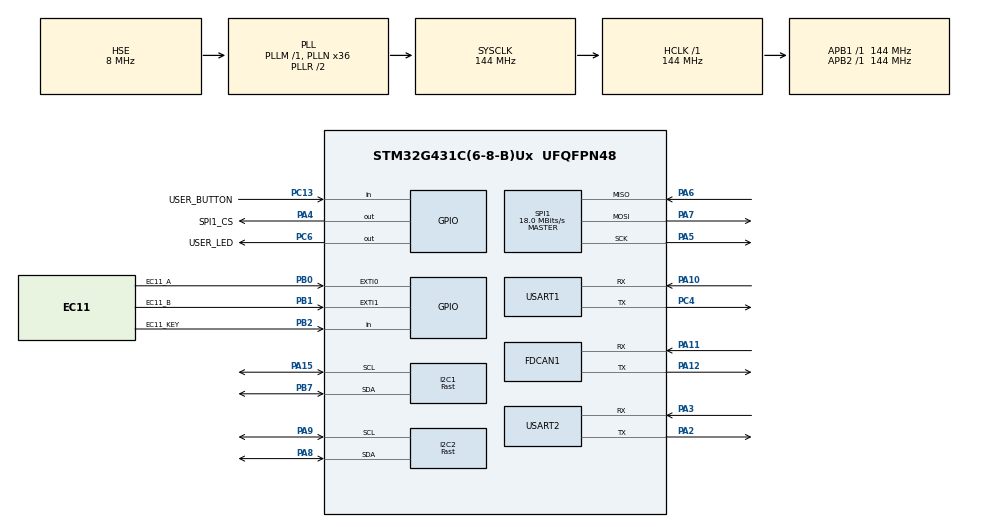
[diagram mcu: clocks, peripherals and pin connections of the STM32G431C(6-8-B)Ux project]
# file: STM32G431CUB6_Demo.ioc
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Dma.Request0=USART1_RX
Dma.USART1_RX.0.Direction=DMA_PERIPH_TO_MEMORY
Dma.USART1_RX.0.EventEnable=DISABLE
Dma.USART1_RX.0.Instance=DMA1_Channel1
Dma.USART1_RX.0.MemDataAlignment=DMA_MDATAALIGN_BYTE
Dma.USART1_RX.0.MemInc=DMA_MINC_ENABLE
Dma.USART1_RX.0.Mode=DMA_CIRCULAR
Dma.USART1_RX.0.PeriphDataAlignment=DMA_PDATAALIGN_BYTE
Dma.USART1_RX.0.PeriphInc=DMA_PINC_DISABLE
Dma.USART1_RX.0.Polarity=HAL_DMAMUX_REQ_GEN_RISING
Dma.USART1_RX.0.Priority=DMA_PRIORITY_LOW
Dma.USART1_RX.0.RequestNumber=1
Dma.USART1_RX.0.SignalID=NONE
Dma.USART1_RX.0.SyncEnable=DISABLE
Dma.USART1_RX.0.SyncPolarity=HAL_DMAMUX_SYNC_NO_EVENT
Dma.USART1_RX.0.SyncRequestNumber=1
Dma.USART1_RX.0.SyncSignalID=NONE
FDCAN1.CalculateBaudRateNominal=500000
FDCAN1.CalculateTimeBitNominal=2000
FDCAN1.CalculateTimeQuantumNominal=125.0
FDCAN1.NominalPrescaler=18
FDCAN1.NominalTimeSeg1=11
FDCAN1.NominalTimeSeg2=4
I2C1.I2C_Speed_Mode=I2C_Fast
I2C1.Timing=0x10E32674
I2C2.I2C_Speed_Mode=I2C_Fast
I2C2.Speed=400
I2C2.Timing=0x10E32674
Mcu.Family=STM32G4
Mcu.Name=STM32G431C(6-8-B)Ux
Mcu.Package=UFQFPN48
NVIC.DMA1_Channel1_IRQn=true\:8\:0\:true\:false\:true\:false\:true\:true
NVIC.EXTI0_IRQn=true\:12\:0\:true\:false\:true\:true\:true\:true
NVIC.EXTI1_IRQn=true\:12\:0\:true\:false\:true\:true\:true\:true
NVIC.FDCAN1_IT0_IRQn=true\:6\:0\:true\:false\:true\:true\:true\:true
NVIC.PriorityGroup=NVIC_PRIORITYGROUP_4
NVIC.RNG_IRQn=true\:14\:0\:true\:false\:true\:true\:true\:true
NVIC.TIM1_TRG_COM_TIM17_IRQn=true\:10\:0\:true\:false\:true\:true\:true\:true
NVIC.TIM7_IRQn=true\:12\:0\:true\:false\:true\:true\:true\:true
NVIC.TimeBase=TIM1_TRG_COM_TIM17_IRQn
NVIC.TimeBaseIP=TIM17
NVIC.USART1_IRQn=true\:8\:0\:true\:false\:true\:true\:true\:true
NVIC.USART2_IRQn=true\:10\:0\:true\:false\:true\:true\:true\:true
PA10.Mode=Asynchronous
PA10.Signal=USART1_RX
PA11.Mode=FDCAN_Activate
PA11.Signal=FDCAN1_RX
PA12.Mode=FDCAN_Activate
PA12.Signal=FDCAN1_TX
PA13.Mode=Serial_Wire
PA13.Signal=SYS_JTMS-SWDIO
PA14.Mode=Serial_Wire
PA14.Signal=SYS_JTCK-SWCLK
PA15.Mode=I2C
PA15.Signal=I2C1_SCL
PA2.Mode=Asynchronous
PA2.Signal=USART2_TX
PA3.Mode=Asynchronous
PA3.Signal=USART2_RX
PA4.GPIO_Label=SPI1_CS
PA4.PinState=GPIO_PIN_SET
PA4.Signal=GPIO_Output
PA5.Mode=Full_Duplex_Master
PA5.Signal=SPI1_SCK
PA6.Mode=Full_Duplex_Master
PA6.Signal=SPI1_MISO
PA7.Mode=Full_Duplex_Master
PA7.Signal=SPI1_MOSI
PA8.Mode=I2C
PA8.Signal=I2C2_SDA
PA9.Mode=I2C
PA9.Signal=I2C2_SCL
PB0.GPIO_Label=EC11_A
PB0.GPIO_ModeDefaultEXTI=GPIO_MODE_IT_RISING_FALLING
PB0.GPIO_PuPd=GPIO_PULLUP
PB0.Signal=GPXTI0
PB1.GPIO_Label=EC11_B
PB1.GPIO_ModeDefaultEXTI=GPIO_MODE_IT_RISING_FALLING
PB1.GPIO_PuPd=GPIO_PULLUP
PB1.Signal=GPXTI1
PB2.GPIO_Label=EC11_KEY
PB2.GPIO_PuPd=GPIO_PULLUP
PB2.Signal=GPIO_Input
PB7.Mode=I2C
PB7.Signal=I2C1_SDA
PC13.GPIO_Label=USER_BUTTON
PC13.GPIO_PuPd=GPIO_PULLDOWN
PC13.Signal=GPIO_Input
PC14-OSC32_IN.Mode=LSE-External-Oscillator
PC14-OSC32_IN.Signal=RCC_OSC32_IN
PC15-OSC32_OUT.Mode=LSE-External-Oscillator
PC15-OSC32_OUT.Signal=RCC_OSC32_OUT
PC4.Mode=Asynchronous
PC4.Signal=USART1_TX
PC6.GPIO_Label=USER_LED
PC6.GPIO_PuPd=GPIO_NOPULL
PC6.Signal=GPIO_Output
PF0-OSC_IN.Mode=HSE-External-Oscillator
PF0-OSC_IN.Signal=RCC_OSC_IN
PF1-OSC_OUT.Mode=HSE-External-Oscillator
PF1-OSC_OUT.Signal=RCC_OSC_OUT
ProjectManager.HeapSize=0x200
ProjectManager.StackSize=0x800
ProjectManager.TargetToolchain=STM32CubeIDE
RCC.ADC12Freq_Value=144000000
RCC.AHBFreq_Value=144000000
RCC.APB1Freq_Value=144000000
RCC.APB1TimFreq_Value=144000000
RCC.APB2Freq_Value=144000000
RCC.APB2TimFreq_Value=144000000
RCC.CortexFreq_Value=144000000
RCC.EXTERNAL_CLOCK_VALUE=12288000
RCC.HCLKFreq_Value=144000000
RCC.HSE_VALUE=8000000
RCC.HSI48_VALUE=48000000
RCC.HSI_VALUE=16000000
RCC.PLLN=36
RCC.PLLQ=RCC_PLLQ_DIV6
RCC.PLLSourceVirtual=RCC_PLLSOURCE_HSE
RCC.RTCClockSelection=RCC_RTCCLKSOURCE_LSE
RCC.SYSCLKFreq_VALUE=144000000
RCC.SYSCLKSource=RCC_SYSCLKSOURCE_PLLCLK
RCC.USBFreq_Value=48000000
RCC.VCOOutputFreq_Value=288000000
SPI1.BaudRatePrescaler=SPI_BAUDRATEPRESCALER_8
SPI1.CalculateBaudRate=18.0 MBits/s
SPI1.DataSize=SPI_DATASIZE_8BIT
SPI1.Direction=SPI_DIRECTION_2LINES
SPI1.Mode=SPI_MODE_MASTER
SPI1.VirtualType=VM_MASTER
TIM7.PeriodNoDither=4999
TIM7.Prescaler=143
USART1.VirtualMode-Asynchronous=VM_ASYNC
USART2.VirtualMode-Asynchronous=VM_ASYNC
VP_RNG_VS_RNG.Mode=RNG_Activate
VP_RTC_VS_RTC_Activate.Mode=RTC_Enabled
VP_SYS_VS_DBSignals.Mode=DisableDeadBatterySignals
VP_SYS_VS_tim17.Mode=TIM17
VP_TIM7_VS_ClockSourceINT.Mode=Enable_Timer
board=custom

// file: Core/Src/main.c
/* USER CODE BEGIN Header */
/**
  ******************************************************************************
  * @file           : main.c
  * @brief          : Main program body
  ******************************************************************************
  * @attention
  *
  * Copyright (c) 2025 STMicroelectronics.
  * All rights reserved.
  *
  * This software is licensed under terms that can be found in the LICENSE file
  * in the root directory of this software component.
  * If no LICENSE file comes with this software, it is provided AS-IS.
  *
  ******************************************************************************
  */
/* USER CODE END Header */
#include "main.h"
#include "dma.h"
#include "fdcan.h"
#include "i2c.h"
#include "rng.h"
#include "rtc.h"
#include "spi.h"
#include "tim.h"
#include "usart.h"
#include "gpio.h"

/* USER CODE BEGIN Includes */
#include "logger.h"
#include "multi_button_user.h"
#include "lwshell/lwshell_user.h"
#include "smarttimer_user.h"
#include "xmodem.h"
//#include "ssd1306_tests.h"

/* USER CODE END Includes */

void SystemClock_Config(void);

int main(void)
{

  /* USER CODE BEGIN 1 */
  stim_init();
  //set_timetick();
  set_can_message();
  /* USER CODE END 1 */

  /* MCU Configuration--------------------------------------------------------*/

  /* Reset of all peripherals, Initializes the Flash interface and the Systick. */
  HAL_Init();

  /* Configure the system clock */
  SystemClock_Config();

  /* Initialize all configured peripherals */
  MX_GPIO_Init();
  MX_DMA_Init();
  MX_USART1_UART_Init();
  MX_I2C1_Init();
  MX_SPI1_Init();
  MX_TIM7_Init();
  MX_RNG_Init();
  MX_I2C2_Init();
  MX_RTC_Init();
  MX_USART2_UART_Init();
  MX_FDCAN1_Init();
  /* USER CODE BEGIN 2 */

  random_init();
  logger_init();
  uart_init();

  logger_info("System Start!!!");
  /* USER CODE END 2 */

  /* Infinite loop */
  /* USER CODE BEGIN WHILE */

	buttons_init();
	lwshell_user_init();

	//ssd1306_TestAll();
	//stim_loop(1000, print_data_time, STIM_LOOP_FOREVER);
	//stim_runlater(5000, print_data_time);
  while (1)
  {
    /* USER CODE END WHILE */

    /* USER CODE BEGIN 3 */
    //HAL_Delay(5000);
    stim_mainloop();
    xmodem_receive_mainfuncion();
  }
  /* USER CODE END 3 */
}

void SystemClock_Config(void)
{
  RCC_OscInitTypeDef RCC_OscInitStruct = {0};
  RCC_ClkInitTypeDef RCC_ClkInitStruct = {0};

  /** Configure the main internal regulator output voltage
  */
  HAL_PWREx_ControlVoltageScaling(PWR_REGULATOR_VOLTAGE_SCALE1);

  /** Configure LSE Drive Capability
  */
  HAL_PWR_EnableBkUpAccess();
  __HAL_RCC_LSEDRIVE_CONFIG(RCC_LSEDRIVE_LOW);

  /** Initializes the RCC Oscillators according to the specified parameters
  * in the RCC_OscInitTypeDef structure.
  */
  RCC_OscInitStruct.OscillatorType = RCC_OSCILLATORTYPE_HSE|RCC_OSCILLATORTYPE_LSE;
  RCC_OscInitStruct.HSEState = RCC_HSE_ON;
  RCC_OscInitStruct.LSEState = RCC_LSE_ON;
  RCC_OscInitStruct.PLL.PLLState = RCC_PLL_ON;
  RCC_OscInitStruct.PLL.PLLSource = RCC_PLLSOURCE_HSE;
  RCC_OscInitStruct.PLL.PLLM = RCC_PLLM_DIV1;
  RCC_OscInitStruct.PLL.PLLN = 36;
  RCC_OscInitStruct.PLL.PLLP = RCC_PLLP_DIV2;
  RCC_OscInitStruct.PLL.PLLQ = RCC_PLLQ_DIV6;
  RCC_OscInitStruct.PLL.PLLR = RCC_PLLR_DIV2;
  if (HAL_RCC_OscConfig(&RCC_OscInitStruct) != HAL_OK)
  {
    Error_Handler();
  }

  /** Initializes the CPU, AHB and APB buses clocks
  */
  RCC_ClkInitStruct.ClockType = RCC_CLOCKTYPE_HCLK|RCC_CLOCKTYPE_SYSCLK
                              |RCC_CLOCKTYPE_PCLK1|RCC_CLOCKTYPE_PCLK2;
  RCC_ClkInitStruct.SYSCLKSource = RCC_SYSCLKSOURCE_PLLCLK;
  RCC_ClkInitStruct.AHBCLKDivider = RCC_SYSCLK_DIV1;
  RCC_ClkInitStruct.APB1CLKDivider = RCC_HCLK_DIV1;
  RCC_ClkInitStruct.APB2CLKDivider = RCC_HCLK_DIV1;

  if (HAL_RCC_ClockConfig(&RCC_ClkInitStruct, FLASH_LATENCY_4) != HAL_OK)
  {
    Error_Handler();
  }
}

void HAL_TIM_PeriodElapsedCallback(TIM_HandleTypeDef *htim)
{
  /* USER CODE BEGIN Callback 0 */
  if (htim->Instance == TIM17)
  {
    stim_tick();
  }
  /* USER CODE END Callback 0 */
  if (htim->Instance == TIM17)
  {
    HAL_IncTick();
  }
  /* USER CODE BEGIN Callback 1 */
  if(htim->Instance == TIM7)
  {
    button_ticks();
  }
  /* USER CODE END Callback 1 */
}

void Error_Handler(void)
{
  __disable_irq();
  while (1)
  {
  }
}
